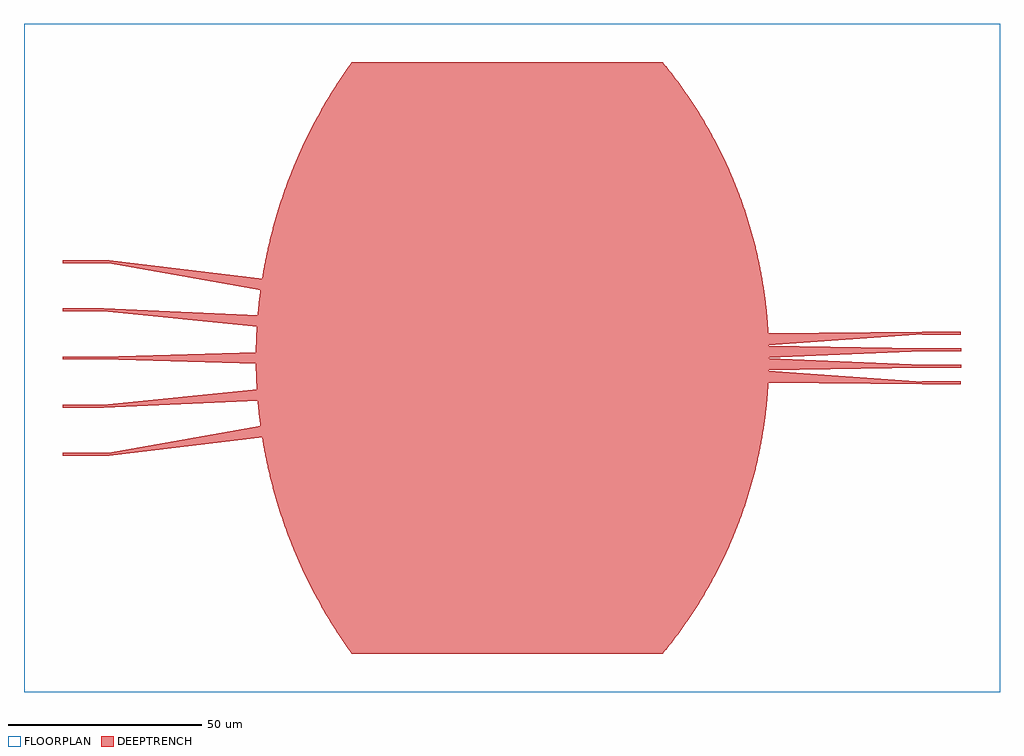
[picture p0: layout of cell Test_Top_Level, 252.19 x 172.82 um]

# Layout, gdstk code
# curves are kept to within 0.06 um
import gdstk
lib = gdstk.Library(unit=1e-6, precision=1e-09)
def R(c, l, rs):  # rectangles x0, y0, x1, y1
    for r in rs: c.add(gdstk.rectangle(r[:2], r[2:], *l))
def P(c, l, *ps):  # polygons
    for p in ps: c.add(gdstk.Polygon(p, *l))
DEEPTRENCH = (4, 0)
FLOORPLAN = (99, 0)

star_coupler_ni5_no4_ia4 = lib.new_cell('star_coupler_NI5_NO4_IA4p2_OA1p5423_AITrue_AOTrue_TL40__4d898660')
R(star_coupler_ni5_no4_ia4, DEEPTRENCH, [(-114.878,-25.223,-102.857,-24.473), (-114.878,-12.833,-104.222,-12.083), (107.193,-6.822,117.193,-6.072), (107.309,-2.525,117.309,-1.775), (-114.878,-0.375,-104.678,0.375), (107.309,1.775,117.309,2.525), (107.193,6.072,117.193,6.822), (-114.878,12.083,-104.222,12.833), (-114.878,24.473,-102.857,25.223)])
P(star_coupler_ni5_no4_ia4, DEEPTRENCH, [(-40.15,-76.412),(-42.753,-72.695),(-45.224,-68.889),(-47.561,-65),(-49.761,-61.031),(-51.821,-56.988),(-53.739,-52.876),(-55.512,-48.699),(-57.138,-44.463),(-58.615,-40.172),(-59.942,-35.833),(-61.006,-31.89),(-62.042,-27.472),(-62.923,-23.021),(-63.649,-18.542),(-64.266,-13.589),(-64.629,-9.521),(-64.882,-4.99),(-64.977,-0.454),(-64.914,4.083),(-64.692,8.616),(-64.312,13.137),(-63.836,17.193),(-63.157,21.68),(-62.323,26.14),(-61.333,30.568),(-60.189,34.96),(-58.893,39.308),(-57.445,43.609),(-55.849,47.856),(-53.923,52.461),(-52.019,56.58),(-49.973,60.63),(-47.787,64.607),(-45.464,68.504),(-42.753,72.695),(-40.15,76.412),(40.15,76.412),(40.15,-76.412),(40.15,76.412),(42.732,73.174),(45.467,69.473),(48.059,65.671),(50.265,62.166),(52.573,58.185),(54.519,54.529),(56.531,50.39),(58.205,46.602),(59.747,42.758),(61.304,38.428),(62.694,34.041),(63.8,30.05),(64.867,25.573),(65.761,21.059),(66.417,16.97),(66.98,12.403),(67.368,7.818),(67.567,3.681),(67.62,-0.92),(67.516,-5.061),(67.234,-9.654),(66.83,-13.776),(66.284,-17.881),(65.511,-22.417),(64.565,-26.921),(63.566,-30.94),(62.429,-34.923),(61.006,-39.299),(59.416,-43.617),(57.844,-47.449),(55.944,-51.64),(53.884,-55.755),(50.974,-60.981),(47.552,-66.439),(44.117,-71.337),(40.15,-76.412),(-40.15,-76.412),(-40.15,76.412)],
  [(67.386,3.337),(67.265,6.335),(107.278,6.825),(107.308,6.076)],
  [(107.278,-6.825),(67.265,-6.335),(67.386,-3.337),(107.308,-6.076)],
  [(67.392,-3.112),(67.433,-0.112),(107.414,-1.776),(107.404,-2.526)],
  [(67.433,0.112),(67.392,3.112),(107.404,2.526),(107.414,1.776)],
  [(-102.901,-25.234),(-103.011,-24.492),(-63.604,-17.536),(-63.166,-20.504)],
  [(-104.294,-12.839),(-104.349,-12.091),(-64.539,-8.04),(-64.319,-11.032)],
  [(-64.778,-1.5),(-104.778,-0.375),(-104.778,0.375),(-64.778,1.5)],
  [(-64.539,8.04),(-104.349,12.091),(-104.294,12.839),(-64.319,11.032)],
  [(-63.604,17.536),(-103.011,24.492),(-102.901,25.234),(-63.166,20.504)])

test_top_level = lib.new_cell('Test_Top_Level')
R(test_top_level, FLOORPLAN, [(-126.094,-86.412,126.093,86.412)])
test_top_level.add(gdstk.Reference(star_coupler_ni5_no4_ia4, (-1.216,0)))

lib.write_gds('Test_Top_Level.gds')
